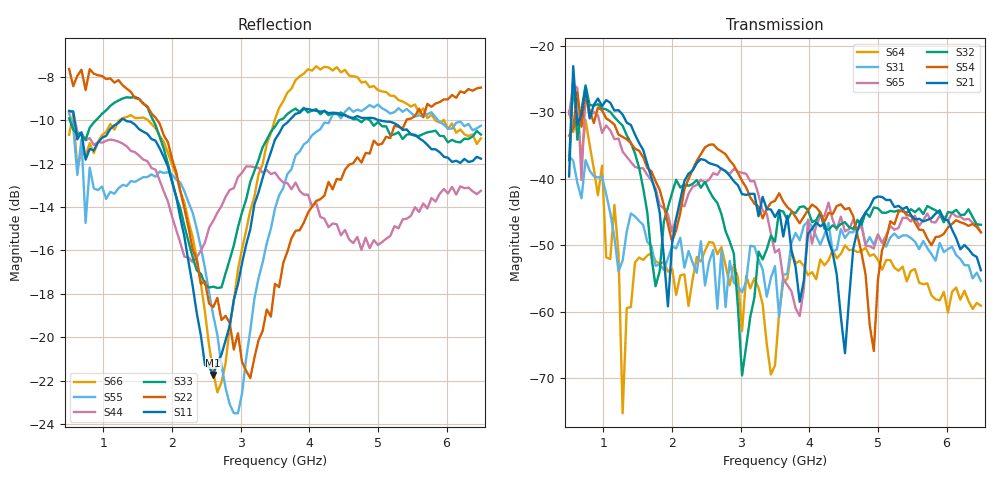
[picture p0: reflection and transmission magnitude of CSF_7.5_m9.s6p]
!Keysight Technologies,M9804A,MY58100912,A.14.10.03
!Date: Thursday, April 27, 2023 10:28:33
!Correction: S11(C  6-Port  )
!S12(C  6-Port  )
!S13(C  6-Port  )
!S14(C  6-Port  )
!S15(C  6-Port  )
!S16(C  6-Port  )
!S21(C  6-Port  )
!S22(C  6-Port  )
!S23(C  6-Port  )
!S24(C  6-Port  )
!S25(C  6-Port  )
!S26(C  6-Port  )
!S31(C  6-Port  )
!S32(C  6-Port  )
!S33(C  6-Port  )
!S34(C  6-Port  )
!S35(C  6-Port  )
!S36(C  6-Port  )
!S41(C  6-Port  )
!S42(C  6-Port  )
!S43(C  6-Port  )
!S44(C  6-Port  )
!S45(C  6-Port  )
!S46(C  6-Port  )
!S51(C  6-Port  )
!S52(C  6-Port  )
!S53(C  6-Port  )
!S54(C  6-Port  )
!S55(C  6-Port  )
!S56(C  6-Port  )
!S61(C  6-Port  )
!S62(C  6-Port  )
!S63(C  6-Port  )
!S64(C  6-Port  )
!S65(C  6-Port  )
!S66(C  6-Port  )
!S6P File: Measurement: :
# Hz S  RI  R 50
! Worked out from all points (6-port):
!   101 points, 500 MHz to 6.5 GHz, reference 50 ohm
!   strongest paths, dB at 500 MHz, 2 GHz, 3.5 GHz, 5 GHz, 6.5 GHz:
!     S21: -39.7, -49.8, -45.8, -42.7, -53.8
!     S54: -33.5, -49.5, -43.3, -55.2, -48.1
!     S32: -37.2, -42.1, -49.5, -44.5, -46.9
!     S65: -30.3, -48.0, -51.1, -48.4, -48.1
!     S31: -36.6, -50.2, -53.2, -48.4, -55.4
!     S64: -29.8, -53.5, -68.1, -52.2, -59.1
!   lowest |S11| = -21.7 dB at 2.6 GHz (marker M1), VSWR 1.18, Z = 42.7 + j2.09 ohm
!   |S11| at or under -10 dB: 578.5 MHz to 1.259 GHz (680.4 MHz wide, 74.1 % of centre); 1.316 GHz to 3.712 GHz (2.396 GHz wide, 95.3 % of centre); 5.011 GHz to end of sweep
